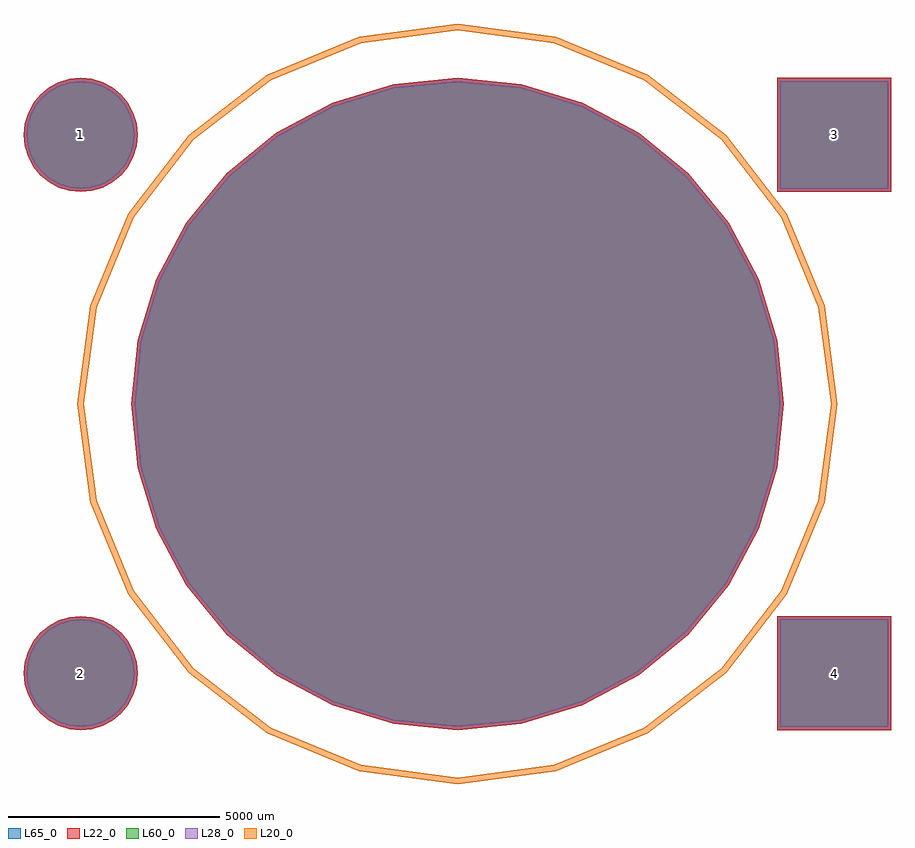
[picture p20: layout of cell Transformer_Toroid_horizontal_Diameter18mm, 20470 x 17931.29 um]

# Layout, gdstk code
import gdstk
lib = gdstk.Library(unit=1e-6, precision=1e-09)
def R(c, l, rs):  # rectangles x0, y0, x1, y1
    for r in rs: c.add(gdstk.rectangle(r[:2], r[2:], *l))
def P(c, l, *ps):  # polygons
    for p in ps: c.add(gdstk.Polygon(p, *l))
L20_0 = (20, 0)
L22_0 = (22, 0)
L28_0 = (28, 0)
L60_0 = (60, 0)
L65_0 = (65, 0)

transformer_toroid_horiz = lib.new_cell('Transformer_Toroid_horizontal_Diameter18mm')
R(transformer_toroid_horiz, L22_0, [(7545,-7695,10235,-5005), (7545,5005,10235,7695)])
P(transformer_toroid_horiz, L22_0, [(-7545,-6350),(-7570.844,-6087.604),(-7647.382,-5835.291),(-7771.673,-5602.758),(-7938.941,-5398.941),(-8142.758,-5231.673),(-8375.291,-5107.382),(-8627.604,-5030.844),(-8890,-5005),(-9152.396,-5030.844),(-9404.709,-5107.382),(-9637.242,-5231.673),(-9841.059,-5398.941),(-10008.327,-5602.758),(-10132.618,-5835.291),(-10209.156,-6087.604),(-10235,-6350),(-10209.156,-6612.396),(-10132.618,-6864.709),(-10008.327,-7097.242),(-9841.059,-7301.059),(-9637.242,-7468.327),(-9404.709,-7592.618),(-9152.396,-7669.156),(-8890,-7695),(-8627.604,-7669.156),(-8375.291,-7592.618),(-8142.758,-7468.327),(-7938.941,-7301.059),(-7771.673,-7097.242),(-7647.382,-6864.709),(-7570.844,-6612.396)],
  [(-7545,6350),(-7570.844,6612.396),(-7647.382,6864.709),(-7771.673,7097.242),(-7938.941,7301.059),(-8142.758,7468.327),(-8375.291,7592.618),(-8627.604,7669.156),(-8890,7695),(-9152.396,7669.156),(-9404.709,7592.618),(-9637.242,7468.327),(-9841.059,7301.059),(-10008.327,7097.242),(-10132.618,6864.709),(-10209.156,6612.396),(-10235,6350),(-10209.156,6087.604),(-10132.618,5835.291),(-10008.327,5602.758),(-9841.059,5398.941),(-9637.242,5231.673),(-9404.709,5107.382),(-9152.396,5030.844),(-8890,5005),(-8627.604,5030.844),(-8375.291,5107.382),(-8142.758,5231.673),(-7938.941,5398.941),(-7771.673,5602.758),(-7647.382,5835.291),(-7570.844,6087.604)],
  [(7695,0),(7547.143,1501.22),(7109.253,2944.749),(6398.159,4275.113),(5441.187,5441.187),(4275.113,6398.159),(2944.749,7109.253),(1501.22,7547.143),(0,7695),(-1501.22,7547.143),(-2944.749,7109.253),(-4275.113,6398.159),(-5441.187,5441.187),(-6398.159,4275.113),(-7109.253,2944.749),(-7547.143,1501.22),(-7695,0),(-7547.143,-1501.22),(-7109.253,-2944.749),(-6398.159,-4275.113),(-5441.187,-5441.187),(-4275.113,-6398.159),(-2944.749,-7109.253),(-1501.22,-7547.143),(0,-7695),(1501.22,-7547.143),(2944.749,-7109.253),(4275.113,-6398.159),(5441.187,-5441.187),(6398.159,-4275.113),(7109.253,-2944.749),(7547.143,-1501.22)])
R(transformer_toroid_horiz, L28_0, [(7620,-7620,10160,-5080), (7620,5080,10160,7620)])
P(transformer_toroid_horiz, L28_0, [(-7620,-6350),(-7644.403,-6102.235),(-7716.673,-5863.992),(-7834.034,-5644.426),(-7991.974,-5451.974),(-8184.426,-5294.034),(-8403.992,-5176.673),(-8642.235,-5104.403),(-8890,-5080),(-9137.765,-5104.403),(-9376.008,-5176.673),(-9595.574,-5294.034),(-9788.026,-5451.974),(-9945.966,-5644.426),(-10063.327,-5863.992),(-10135.597,-6102.235),(-10160,-6350),(-10135.597,-6597.765),(-10063.327,-6836.008),(-9945.966,-7055.574),(-9788.026,-7248.026),(-9595.574,-7405.966),(-9376.008,-7523.327),(-9137.765,-7595.597),(-8890,-7620),(-8642.235,-7595.597),(-8403.992,-7523.327),(-8184.426,-7405.966),(-7991.974,-7248.026),(-7834.034,-7055.574),(-7716.673,-6836.008),(-7644.403,-6597.765)],
  [(-7620,6350),(-7644.403,6597.765),(-7716.673,6836.008),(-7834.034,7055.574),(-7991.974,7248.026),(-8184.426,7405.966),(-8403.992,7523.327),(-8642.235,7595.597),(-8890,7620),(-9137.765,7595.597),(-9376.008,7523.327),(-9595.574,7405.966),(-9788.026,7248.026),(-9945.966,7055.574),(-10063.327,6836.008),(-10135.597,6597.765),(-10160,6350),(-10135.597,6102.235),(-10063.327,5863.992),(-9945.966,5644.426),(-9788.026,5451.974),(-9595.574,5294.034),(-9376.008,5176.673),(-9137.765,5104.403),(-8890,5080),(-8642.235,5104.403),(-8403.992,5176.673),(-8184.426,5294.034),(-7991.974,5451.974),(-7834.034,5644.426),(-7716.673,5863.992),(-7644.403,6102.235)],
  [(7620,0),(7473.584,1486.588),(7039.962,2916.048),(6335.798,4233.445),(5388.154,5388.154),(4233.445,6335.798),(2916.048,7039.962),(1486.588,7473.584),(0,7620),(-1486.588,7473.584),(-2916.048,7039.962),(-4233.445,6335.798),(-5388.154,5388.154),(-6335.798,4233.445),(-7039.962,2916.048),(-7473.584,1486.588),(-7620,0),(-7473.584,-1486.588),(-7039.962,-2916.048),(-6335.798,-4233.445),(-5388.154,-5388.154),(-4233.445,-6335.798),(-2916.048,-7039.962),(-1486.588,-7473.584),(0,-7620),(1486.588,-7473.584),(2916.048,-7039.962),(4233.445,-6335.798),(5388.154,-5388.154),(6335.798,-4233.445),(7039.962,-2916.048),(7473.584,-1486.588)])
R(transformer_toroid_horiz, L60_0, [(7620,-7620,10160,-5080), (7620,5080,10160,7620)])
P(transformer_toroid_horiz, L60_0, [(-7620,-6350),(-7644.403,-6102.235),(-7716.673,-5863.992),(-7834.034,-5644.426),(-7991.974,-5451.974),(-8184.426,-5294.034),(-8403.992,-5176.673),(-8642.235,-5104.403),(-8890,-5080),(-9137.765,-5104.403),(-9376.008,-5176.673),(-9595.574,-5294.034),(-9788.026,-5451.974),(-9945.966,-5644.426),(-10063.327,-5863.992),(-10135.597,-6102.235),(-10160,-6350),(-10135.597,-6597.765),(-10063.327,-6836.008),(-9945.966,-7055.574),(-9788.026,-7248.026),(-9595.574,-7405.966),(-9376.008,-7523.327),(-9137.765,-7595.597),(-8890,-7620),(-8642.235,-7595.597),(-8403.992,-7523.327),(-8184.426,-7405.966),(-7991.974,-7248.026),(-7834.034,-7055.574),(-7716.673,-6836.008),(-7644.403,-6597.765)],
  [(-7620,6350),(-7644.403,6597.765),(-7716.673,6836.008),(-7834.034,7055.574),(-7991.974,7248.026),(-8184.426,7405.966),(-8403.992,7523.327),(-8642.235,7595.597),(-8890,7620),(-9137.765,7595.597),(-9376.008,7523.327),(-9595.574,7405.966),(-9788.026,7248.026),(-9945.966,7055.574),(-10063.327,6836.008),(-10135.597,6597.765),(-10160,6350),(-10135.597,6102.235),(-10063.327,5863.992),(-9945.966,5644.426),(-9788.026,5451.974),(-9595.574,5294.034),(-9376.008,5176.673),(-9137.765,5104.403),(-8890,5080),(-8642.235,5104.403),(-8403.992,5176.673),(-8184.426,5294.034),(-7991.974,5451.974),(-7834.034,5644.426),(-7716.673,5863.992),(-7644.403,6102.235)],
  [(7620,0),(7473.584,1486.588),(7039.962,2916.048),(6335.798,4233.445),(5388.154,5388.154),(4233.445,6335.798),(2916.048,7039.962),(1486.588,7473.584),(0,7620),(-1486.588,7473.584),(-2916.048,7039.962),(-4233.445,6335.798),(-5388.154,5388.154),(-6335.798,4233.445),(-7039.962,2916.048),(-7473.584,1486.588),(-7620,0),(-7473.584,-1486.588),(-7039.962,-2916.048),(-6335.798,-4233.445),(-5388.154,-5388.154),(-4233.445,-6335.798),(-2916.048,-7039.962),(-1486.588,-7473.584),(0,-7620),(1486.588,-7473.584),(2916.048,-7039.962),(4233.445,-6335.798),(5388.154,-5388.154),(6335.798,-4233.445),(7039.962,-2916.048),(7473.584,-1486.588)])
R(transformer_toroid_horiz, L65_0, [(7545,-7695,10235,-5005), (7545,5005,10235,7695)])
P(transformer_toroid_horiz, L65_0, [(-7545,-6350),(-7570.844,-6087.604),(-7647.382,-5835.291),(-7771.673,-5602.758),(-7938.941,-5398.941),(-8142.758,-5231.673),(-8375.291,-5107.382),(-8627.604,-5030.844),(-8890,-5005),(-9152.396,-5030.844),(-9404.709,-5107.382),(-9637.242,-5231.673),(-9841.059,-5398.941),(-10008.327,-5602.758),(-10132.618,-5835.291),(-10209.156,-6087.604),(-10235,-6350),(-10209.156,-6612.396),(-10132.618,-6864.709),(-10008.327,-7097.242),(-9841.059,-7301.059),(-9637.242,-7468.327),(-9404.709,-7592.618),(-9152.396,-7669.156),(-8890,-7695),(-8627.604,-7669.156),(-8375.291,-7592.618),(-8142.758,-7468.327),(-7938.941,-7301.059),(-7771.673,-7097.242),(-7647.382,-6864.709),(-7570.844,-6612.396)],
  [(-7545,6350),(-7570.844,6612.396),(-7647.382,6864.709),(-7771.673,7097.242),(-7938.941,7301.059),(-8142.758,7468.327),(-8375.291,7592.618),(-8627.604,7669.156),(-8890,7695),(-9152.396,7669.156),(-9404.709,7592.618),(-9637.242,7468.327),(-9841.059,7301.059),(-10008.327,7097.242),(-10132.618,6864.709),(-10209.156,6612.396),(-10235,6350),(-10209.156,6087.604),(-10132.618,5835.291),(-10008.327,5602.758),(-9841.059,5398.941),(-9637.242,5231.673),(-9404.709,5107.382),(-9152.396,5030.844),(-8890,5005),(-8627.604,5030.844),(-8375.291,5107.382),(-8142.758,5231.673),(-7938.941,5398.941),(-7771.673,5602.758),(-7647.382,5835.291),(-7570.844,6087.604)],
  [(7695,0),(7547.143,1501.22),(7109.253,2944.749),(6398.159,4275.113),(5441.187,5441.187),(4275.113,6398.159),(2944.749,7109.253),(1501.22,7547.143),(0,7695),(-1501.22,7547.143),(-2944.749,7109.253),(-4275.113,6398.159),(-5441.187,5441.187),(-6398.159,4275.113),(-7109.253,2944.749),(-7547.143,1501.22),(-7695,0),(-7547.143,-1501.22),(-7109.253,-2944.749),(-6398.159,-4275.113),(-5441.187,-5441.187),(-4275.113,-6398.159),(-2944.749,-7109.253),(-1501.22,-7547.143),(0,-7695),(1501.22,-7547.143),(2944.749,-7109.253),(4275.113,-6398.159),(5441.187,-5441.187),(6398.159,-4275.113),(7109.253,-2944.749),(7547.143,-1501.22)])
transformer_toroid_horiz.add(gdstk.FlexPath([(8890,0),(8587.081,2300.901),(7698.966,4445),(6286.179,6286.179),(4445,7698.966),(2300.901,8587.081),(0,8890),(-2300.901,8587.081),(-4445,7698.966),(-6286.179,6286.179),(-7698.966,4445),(-8587.081,2300.901),(-8890,0),(-8587.081,-2300.901),(-7698.966,-4445),(-6286.179,-6286.179),(-4445,-7698.966),(-2300.901,-8587.081),(0,-8890),(2300.901,-8587.081),(4445,-7698.966),(6286.179,-6286.179),(7698.966,-4445),(8587.081,-2300.901),(8890,0)], 149.998, ends="flush", simple_path=True, layer=20, datatype=0))  # L20_0
transformer_toroid_horiz.add(gdstk.Label('4', (8890,-6350), layer=28, texttype=0))
transformer_toroid_horiz.add(gdstk.Label('3', (8890,6350), layer=28, texttype=0))
transformer_toroid_horiz.add(gdstk.Label('2', (-8890,-6350), layer=28, texttype=0))
transformer_toroid_horiz.add(gdstk.Label('1', (-8890,6350), layer=28, texttype=0))
transformer_toroid_horiz.add(gdstk.Label('type', (0,-10160), layer=9, texttype=0))
transformer_toroid_horiz.add(gdstk.Label('devicename', (0,10160), layer=9, texttype=0))

lib.write_gds('Transformer_Toroid_horizontal_Diameter18mm.gds')
